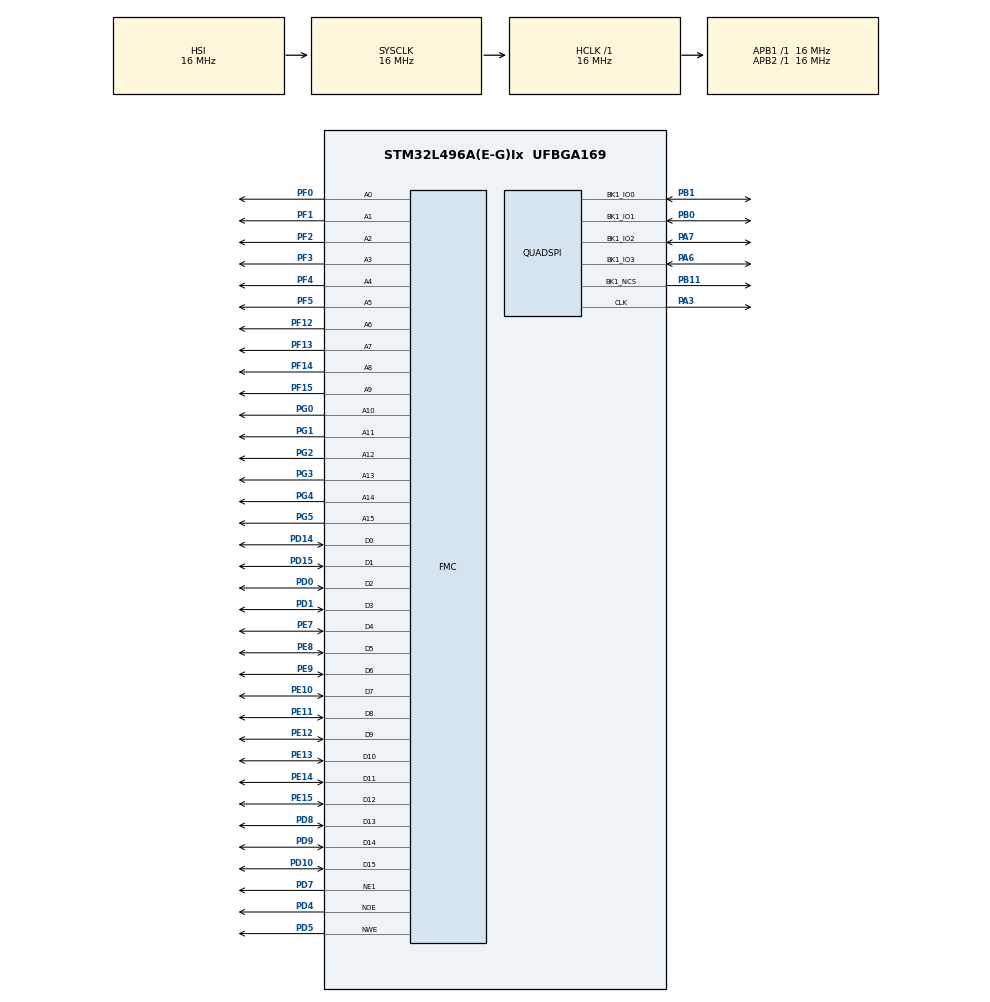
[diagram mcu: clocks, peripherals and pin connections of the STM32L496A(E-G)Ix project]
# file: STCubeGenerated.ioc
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Mcu.Family=STM32L4
Mcu.Name=STM32L496A(E-G)Ix
Mcu.Package=UFBGA169
NVIC.PriorityGroup=NVIC_PRIORITYGROUP_4
PA3.Mode=Single Bank 1
PA3.Signal=QUADSPI_CLK
PA6.Mode=Single Bank 1
PA6.Signal=QUADSPI_BK1_IO3
PA7.Mode=Single Bank 1
PA7.Signal=QUADSPI_BK1_IO2
PB0.Mode=Single Bank 1
PB0.Signal=QUADSPI_BK1_IO1
PB1.Mode=Single Bank 1
PB1.Signal=QUADSPI_BK1_IO0
PB11.Mode=Single Bank 1
PB11.Signal=QUADSPI_BK1_NCS
PD0.Signal=FMC_D2_DA2
PD1.Signal=FMC_D3_DA3
PD10.Signal=FMC_D15_DA15
PD14.Signal=FMC_D0_DA0
PD15.Signal=FMC_D1_DA1
PD4.Signal=FMC_NOE
PD5.Signal=FMC_NWE
PD7.Mode=NorPsramChipSelect1_1
PD7.Signal=FMC_NE1
PD8.Signal=FMC_D13_DA13
PD9.Signal=FMC_D14_DA14
PE10.Signal=FMC_D7_DA7
PE11.Signal=FMC_D8_DA8
PE12.Signal=FMC_D9_DA9
PE13.Signal=FMC_D10_DA10
PE14.Signal=FMC_D11_DA11
PE15.Signal=FMC_D12_DA12
PE7.Signal=FMC_D4_DA4
PE8.Signal=FMC_D5_DA5
PE9.Signal=FMC_D6_DA6
PF0.Signal=FMC_A0
PF1.Signal=FMC_A1
PF12.Signal=FMC_A6
PF13.Signal=FMC_A7
PF14.Signal=FMC_A8
PF15.Signal=FMC_A9
PF2.Signal=FMC_A2
PF3.Signal=FMC_A3
PF4.Signal=FMC_A4
PF5.Signal=FMC_A5
PG0.Signal=FMC_A10
PG1.Signal=FMC_A11
PG2.Signal=FMC_A12
PG3.Signal=FMC_A13
PG4.Signal=FMC_A14
PG5.Signal=FMC_A15
ProjectManager.HeapSize=0x200
ProjectManager.StackSize=0x400
ProjectManager.TargetToolchain=Makefile
QUADSPI.ClockPrescaler=8
QUADSPI.FifoThreshold=4
QUADSPI.FlashSize=22
RCC.ADCFreq_Value=64000000
RCC.AHBFreq_Value=16000000
RCC.APB1Freq_Value=16000000
RCC.APB1TimFreq_Value=16000000
RCC.APB2Freq_Value=16000000
RCC.APB2TimFreq_Value=16000000
RCC.CortexFreq_Value=16000000
RCC.HCLKFreq_Value=16000000
RCC.HSE_VALUE=8000000
RCC.HSI48_VALUE=48000000
RCC.HSI_VALUE=16000000
RCC.LSE_VALUE=32768
RCC.MSIClockRange=RCC_MSIRANGE_5
RCC.MSI_VALUE=2000000
RCC.PLLN=40
RCC.PLLSourceVirtual=RCC_PLLSOURCE_HSI
RCC.SYSCLKFreq_VALUE=16000000
RCC.SYSCLKSource=RCC_SYSCLKSOURCE_HSI
RCC.USBFreq_Value=64000000
RCC.VCOOutputFreq_Value=640000000
SH.FMC_A0.0=FMC_A0,16b-a1
SH.FMC_A1.0=FMC_A1,16b-a1
SH.FMC_A10.0=FMC_A10,16b-a1
SH.FMC_A11.0=FMC_A11,16b-a1
SH.FMC_A12.0=FMC_A12,16b-a1
SH.FMC_A13.0=FMC_A13,16b-a1
SH.FMC_A14.0=FMC_A14,16b-a1
SH.FMC_A15.0=FMC_A15,16b-a1
SH.FMC_A2.0=FMC_A2,16b-a1
SH.FMC_A3.0=FMC_A3,16b-a1
SH.FMC_A4.0=FMC_A4,16b-a1
SH.FMC_A5.0=FMC_A5,16b-a1
SH.FMC_A6.0=FMC_A6,16b-a1
SH.FMC_A7.0=FMC_A7,16b-a1
SH.FMC_A8.0=FMC_A8,16b-a1
SH.FMC_A9.0=FMC_A9,16b-a1
SH.FMC_D0_DA0.0=FMC_D0,16b-d1
SH.FMC_D10_DA10.0=FMC_D10,16b-d1
SH.FMC_D11_DA11.0=FMC_D11,16b-d1
SH.FMC_D12_DA12.0=FMC_D12,16b-d1
SH.FMC_D13_DA13.0=FMC_D13,16b-d1
SH.FMC_D14_DA14.0=FMC_D14,16b-d1
SH.FMC_D15_DA15.0=FMC_D15,16b-d1
SH.FMC_D1_DA1.0=FMC_D1,16b-d1
SH.FMC_D2_DA2.0=FMC_D2,16b-d1
SH.FMC_D3_DA3.0=FMC_D3,16b-d1
SH.FMC_D4_DA4.0=FMC_D4,16b-d1
SH.FMC_D5_DA5.0=FMC_D5,16b-d1
SH.FMC_D6_DA6.0=FMC_D6,16b-d1
SH.FMC_D7_DA7.0=FMC_D7,16b-d1
SH.FMC_D8_DA8.0=FMC_D8,16b-d1
SH.FMC_D9_DA9.0=FMC_D9,16b-d1
SH.FMC_NOE.0=FMC_NOE,Sram1
SH.FMC_NWE.0=FMC_NWE,Sram1
board=STCubeGenerated

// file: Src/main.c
/* USER CODE BEGIN Header */
/**
  ******************************************************************************
  * @file           : main.c
  * @brief          : Main program body
  ******************************************************************************
  ** This notice applies to any and all portions of this file
  * that are not between comment pairs USER CODE BEGIN and
  * USER CODE END. Other portions of this file, whether
  * inserted by the user or by software development tools
  * are owned by their respective copyright owners.
  *
  * COPYRIGHT(c) 2018 STMicroelectronics
  *
  * Redistribution and use in source and binary forms, with or without modification,
  * are permitted provided that the following conditions are met:
  *   1. Redistributions of source code must retain the above copyright notice,
  *      this list of conditions and the following disclaimer.
  *   2. Redistributions in binary form must reproduce the above copyright notice,
  *      this list of conditions and the following disclaimer in the documentation
  *      and/or other materials provided with the distribution.
  *   3. Neither the name of STMicroelectronics nor the names of its contributors
  *      may be used to endorse or promote products derived from this software
  *      without specific prior written permission.
  *
  * THIS SOFTWARE IS PROVIDED BY THE COPYRIGHT HOLDERS AND CONTRIBUTORS "AS IS"
  * AND ANY EXPRESS OR IMPLIED WARRANTIES, INCLUDING, BUT NOT LIMITED TO, THE
  * IMPLIED WARRANTIES OF MERCHANTABILITY AND FITNESS FOR A PARTICULAR PURPOSE ARE
  * DISCLAIMED. IN NO EVENT SHALL THE COPYRIGHT HOLDER OR CONTRIBUTORS BE LIABLE
  * FOR ANY DIRECT, INDIRECT, INCIDENTAL, SPECIAL, EXEMPLARY, OR CONSEQUENTIAL
  * DAMAGES (INCLUDING, BUT NOT LIMITED TO, PROCUREMENT OF SUBSTITUTE GOODS OR
  * SERVICES; LOSS OF USE, DATA, OR PROFITS; OR BUSINESS INTERRUPTION) HOWEVER
  * CAUSED AND ON ANY THEORY OF LIABILITY, WHETHER IN CONTRACT, STRICT LIABILITY,
  * OR TORT (INCLUDING NEGLIGENCE OR OTHERWISE) ARISING IN ANY WAY OUT OF THE USE
  * OF THIS SOFTWARE, EVEN IF ADVISED OF THE POSSIBILITY OF SUCH DAMAGE.
  *
  ******************************************************************************
  */
/* USER CODE END Header */

#include "main.h"

/* USER CODE BEGIN Includes */
#include "quadspi.h"
/* USER CODE END Includes */

QSPI_HandleTypeDef hqspi;

SRAM_HandleTypeDef hsram1;

/* USER CODE BEGIN PV */
/* Private variables ---------------------------------------------------------*/

/* USER CODE END PV */

void SystemClock_Config(void);
static void MX_GPIO_Init(void);
static void MX_FMC_Init(void);
void MX_QUADSPI_Init(void);
/* USER CODE BEGIN PFP */
/* Private function prototypes -----------------------------------------------*/

/* USER CODE END PFP */

/* USER CODE BEGIN 0 */

/**
  * Override default HAL_GetTick function
  */
uint32_t HAL_GetTick (void) {
 static uint32_t ticks = 0U;
 uint32_t i;

  /* If Kernel is not running wait approximately 1 ms then increment
     and return auxiliary tick counter value */
  for (i = (SystemCoreClock >> 14U); i > 0U; i--) {
    __NOP(); __NOP(); __NOP(); __NOP(); __NOP(); __NOP();
    __NOP(); __NOP(); __NOP(); __NOP(); __NOP(); __NOP();
  }
  return ++ticks;
}

/**
  * Override default HAL_Delay function
  */
void HAL_Delay(uint32_t Delay)
{
  uint32_t tickstart = HAL_GetTick();
  uint32_t wait = Delay;

  /* Add a period to guaranty minimum wait */
  if (wait < HAL_MAX_DELAY)
  {
    wait += (uint32_t)(HAL_TICK_FREQ_DEFAULT);
  }

  while((HAL_GetTick() - tickstart) < wait)
  {
    __NOP();
  }
}

/**
  * Override default HAL_InitTick function
  */
HAL_StatusTypeDef HAL_InitTick(uint32_t TickPriority) {
  return HAL_OK;
}

/* USER CODE END 0 */

int main(void)
{

  /* MCU Configuration--------------------------------------------------------*/

  /* Reset of all peripherals, Initializes the Flash interface and the Systick. */
  HAL_Init();

  /* Configure the system clock */
  SystemClock_Config();

  /* USER CODE BEGIN SysInit */
  SystemCoreClockUpdate();
  /* USER CODE END SysInit */

  /* Initialize all configured peripherals */
  MX_GPIO_Init();
  /* USER CODE BEGIN 2 */
  CSP_QUADSPI_Init();
  CSP_QSPI_EnableMemoryMappedMode();

	/* Initialize CMSIS-RTOS2 */
  osKernelInitialize ();

  /* Create application main thread */
  osThreadNew(app_main, NULL, NULL);

  /* Start thread execution */
  osKernelStart();
  /* USER CODE END 2 */

  /* Infinite loop */
  while (1)
  {

  }
}

void SystemClock_Config(void)
{
  RCC_OscInitTypeDef RCC_OscInitStruct = {0};
  RCC_ClkInitTypeDef RCC_ClkInitStruct = {0};

  /** Initializes the CPU, AHB and APB busses clocks
  */
  RCC_OscInitStruct.OscillatorType = RCC_OSCILLATORTYPE_HSI;
  RCC_OscInitStruct.HSIState = RCC_HSI_ON;
  RCC_OscInitStruct.HSICalibrationValue = RCC_HSICALIBRATION_DEFAULT;
  RCC_OscInitStruct.PLL.PLLState = RCC_PLL_NONE;
  if (HAL_RCC_OscConfig(&RCC_OscInitStruct) != HAL_OK)
  {
    Error_Handler();
  }
  /** Initializes the CPU, AHB and APB busses clocks
  */
  RCC_ClkInitStruct.ClockType = RCC_CLOCKTYPE_HCLK|RCC_CLOCKTYPE_SYSCLK
                              |RCC_CLOCKTYPE_PCLK1|RCC_CLOCKTYPE_PCLK2;
  RCC_ClkInitStruct.SYSCLKSource = RCC_SYSCLKSOURCE_HSI;
  RCC_ClkInitStruct.AHBCLKDivider = RCC_SYSCLK_DIV1;
  RCC_ClkInitStruct.APB1CLKDivider = RCC_HCLK_DIV1;
  RCC_ClkInitStruct.APB2CLKDivider = RCC_HCLK_DIV1;

  if (HAL_RCC_ClockConfig(&RCC_ClkInitStruct, FLASH_LATENCY_0) != HAL_OK)
  {
    Error_Handler();
  }
  /** Configure the main internal regulator output voltage
  */
  if (HAL_PWREx_ControlVoltageScaling(PWR_REGULATOR_VOLTAGE_SCALE1) != HAL_OK)
  {
    Error_Handler();
  }
}

void MX_QUADSPI_Init(void)
{

  /* QUADSPI parameter configuration*/
  hqspi.Instance = QUADSPI;
  hqspi.Init.ClockPrescaler = 8;
  hqspi.Init.FifoThreshold = 4;
  hqspi.Init.SampleShifting = QSPI_SAMPLE_SHIFTING_NONE;
  hqspi.Init.FlashSize = 22;
  hqspi.Init.ChipSelectHighTime = QSPI_CS_HIGH_TIME_1_CYCLE;
  hqspi.Init.ClockMode = QSPI_CLOCK_MODE_0;
  hqspi.Init.FlashID = QSPI_FLASH_ID_1;
  hqspi.Init.DualFlash = QSPI_DUALFLASH_DISABLE;
  if (HAL_QSPI_Init(&hqspi) != HAL_OK)
  {
    Error_Handler();
  }

}

/* FMC initialization function */
static void MX_FMC_Init(void)
{

  FMC_NORSRAM_TimingTypeDef Timing = {0};

  /** Perform the SRAM1 memory initialization sequence
  */
  hsram1.Instance = FMC_NORSRAM_DEVICE;
  hsram1.Extended = FMC_NORSRAM_EXTENDED_DEVICE;
  /* hsram1.Init */
  hsram1.Init.NSBank = FMC_NORSRAM_BANK1;
  hsram1.Init.DataAddressMux = FMC_DATA_ADDRESS_MUX_DISABLE;
  hsram1.Init.MemoryType = FMC_MEMORY_TYPE_SRAM;
  hsram1.Init.MemoryDataWidth = FMC_NORSRAM_MEM_BUS_WIDTH_16;
  hsram1.Init.BurstAccessMode = FMC_BURST_ACCESS_MODE_DISABLE;
  hsram1.Init.WaitSignalPolarity = FMC_WAIT_SIGNAL_POLARITY_LOW;
  hsram1.Init.WaitSignalActive = FMC_WAIT_TIMING_BEFORE_WS;
  hsram1.Init.WriteOperation = FMC_WRITE_OPERATION_DISABLE;
  hsram1.Init.WaitSignal = FMC_WAIT_SIGNAL_DISABLE;
  hsram1.Init.ExtendedMode = FMC_EXTENDED_MODE_DISABLE;
  hsram1.Init.AsynchronousWait = FMC_ASYNCHRONOUS_WAIT_DISABLE;
  hsram1.Init.WriteBurst = FMC_WRITE_BURST_DISABLE;
  hsram1.Init.ContinuousClock = FMC_CONTINUOUS_CLOCK_SYNC_ONLY;
  hsram1.Init.WriteFifo = FMC_WRITE_FIFO_ENABLE;
  hsram1.Init.PageSize = FMC_PAGE_SIZE_NONE;
  /* Timing */
  Timing.AddressSetupTime = 15;
  Timing.AddressHoldTime = 15;
  Timing.DataSetupTime = 255;
  Timing.BusTurnAroundDuration = 15;
  Timing.CLKDivision = 16;
  Timing.DataLatency = 17;
  Timing.AccessMode = FMC_ACCESS_MODE_A;
  /* ExtTiming */

  if (HAL_SRAM_Init(&hsram1, &Timing, NULL) != HAL_OK)
  {
    Error_Handler( );
  }

}

static void MX_GPIO_Init(void)
{

  /* GPIO Ports Clock Enable */
  __HAL_RCC_GPIOD_CLK_ENABLE();
  __HAL_RCC_GPIOF_CLK_ENABLE();
  __HAL_RCC_GPIOG_CLK_ENABLE();
  __HAL_RCC_GPIOE_CLK_ENABLE();
  __HAL_RCC_GPIOB_CLK_ENABLE();
  HAL_PWREx_EnableVddIO2();
  __HAL_RCC_GPIOA_CLK_ENABLE();

}

void Error_Handler(void)
{
  while(1)
  {
  }
}

/************************ (C) COPYRIGHT STMicroelectronics *****END OF FILE****/
